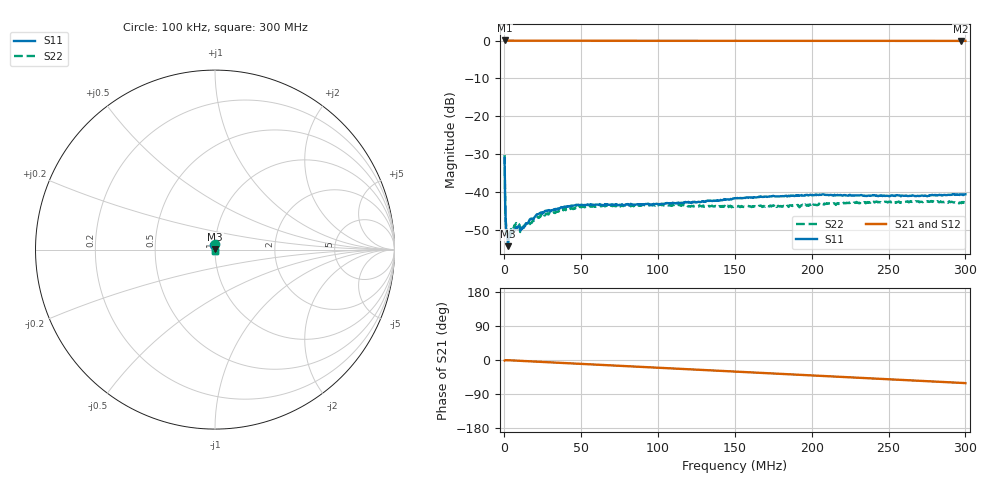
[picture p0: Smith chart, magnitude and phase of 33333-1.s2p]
#  HZ  S  DB  R  50.00
! Rohde & Schwarz Vector Network Analyzer
! Rohde-Schwarz,ZND-2Port,1328517092102334,3.45
! Created: UTC 3/30/2026, 5:37:28 AM
! freq[Hz]  db:S11  ang:S11  db:S21  ang:S21  db:S12  ang:S12  db:S22  ang:S22
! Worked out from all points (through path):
!   801 points, 100 kHz to 300 MHz, reference 50 ohm
!   highest |S21| = 0.02 dB at 100 kHz (marker M1); lowest = -0.1 dB at 297 MHz (marker M2)
!   group delay of S21, straight-line fit = 564 ps
!   lowest |S11| = -54.3 dB at 2.349 MHz (marker M3), VSWR 1.00, Z = 50.1 + j0.151 ohm
!   |S11| at or under -10 dB: start of sweep to end of sweep
!   |S22| runs from -51.8 to -30.2 dB; largest |S21 - S12| = 0.0021
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100000  -31.03 100.2  0.02 -1.3  0.03 -1.4  -30.24 93.8
1974375  -52.20 46.6  -0.02 -0.5  -0.01 -0.5  -51.19 42.9
2349250  -54.26 50.9  -0.01 -0.6  -0.01 -0.6  -51.80 39.0
3473875  -51.77 46.2  -0.02 -0.8  -0.01 -0.8  -50.61 28.2
4598500  -50.95 27.9  -0.02 -1.0  -0.02 -1.0  -50.06 23.1
7972375  -49.59 19.3  -0.03 -1.7  -0.03 -1.7  -48.39 9.1
1.172112e7  -49.45 21.4  -0.03 -2.4  -0.03 -2.5  -49.51 15.7
1.397038e7  -48.23 22.4  -0.03 -2.9  -0.03 -2.9  -48.51 11.9
1.771912e7  -47.02 21.8  -0.03 -3.7  -0.03 -3.7  -48.12 12.8
2.25925e7  -45.65 16.2  -0.04 -4.7  -0.04 -4.7  -46.75 12.5
2.55915e7  -45.40 19.0  -0.04 -5.3  -0.04 -5.3  -45.74 14.2
3.833725e7  -43.92 8.6  -0.05 -7.9  -0.05 -7.9  -44.80 5.9
5.033325e7  -43.40 1.0  -0.06 -10.3  -0.06 -10.3  -43.97 0.8
1.001916e8  -43.20 -13.6  -0.06 -20.4  -0.06 -20.4  -43.47 -11.6
1.26058e8  -42.57 -18.5  -0.07 -25.7  -0.07 -25.7  -43.79 -17.4
1.5005e8  -41.60 -25.7  -0.07 -30.6  -0.07 -30.6  -43.76 -24.8
1.819144e8  -41.05 -31.4  -0.08 -37.0  -0.08 -37.0  -43.68 -36.1
2.002832e8  -40.73 -36.1  -0.08 -40.8  -0.08 -40.8  -43.13 -40.2
2.501416e8  -40.99 -51.3  -0.09 -50.9  -0.09 -50.9  -42.60 -55.3
2.763829e8  -40.99 -60.6  -0.09 -56.2  -0.09 -56.2  -42.59 -65.2
2.97001e8  -40.59 -71.2  -0.09 -60.4  -0.09 -60.4  -42.84 -76.7
3e8  -40.57 -74.3  -0.09 -61.0  -0.09 -61.0  -42.67 -77.1
